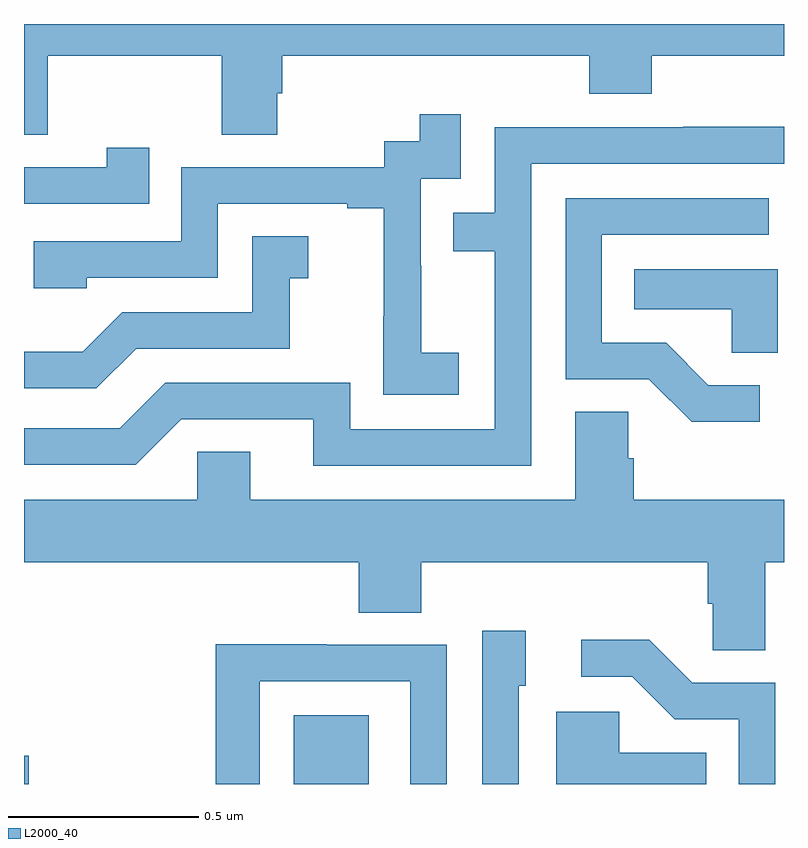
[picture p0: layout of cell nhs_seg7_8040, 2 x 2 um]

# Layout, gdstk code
import gdstk
lib = gdstk.Library(unit=1e-6, precision=1e-09)
def R(c, l, rs):  # rectangles x0, y0, x1, y1
    for r in rs: c.add(gdstk.rectangle(r[:2], r[2:], *l))
def P(c, l, *ps):  # polygons
    for p in ps: c.add(gdstk.Polygon(p, *l))
L2000_40 = (2000, 40)

nhs_seg7_8040 = lib.new_cell('nhs_seg7_8040')
R(nhs_seg7_8040, L2000_40, [(219,1032,219.013,1032.074), (219.71,1032,219.907,1032.181)])
P(nhs_seg7_8040, L2000_40, [(219.063,1033.916),(219.52,1033.916),(219.52,1033.708),(219.667,1033.708),(219.667,1033.818),(219.68,1033.818),(219.68,1033.916),(220.487,1033.916),(220.487,1033.817),(220.652,1033.817),(220.652,1033.916),(221,1033.916),(221,1034),(219,1034),(219,1033.708),(219.063,1033.708)],
  [(220.144,1033.135),(220.046,1033.135),(220.046,1033.364),(220.044,1033.364),(220.044,1033.593),(220.149,1033.593),(220.149,1033.762),(220.041,1033.762),(220.041,1033.692),(219.948,1033.692),(219.948,1033.623),(219.414,1033.623),(219.414,1033.428),(219.025,1033.428),(219.025,1033.305),(219.165,1033.305),(219.165,1033.332),(219.51,1033.332),(219.51,1033.527),(219.851,1033.527),(219.851,1033.515),(219.947,1033.515),(219.947,1033.231),(219.946,1033.231),(219.946,1033.025),(220.144,1033.025)],
  [(220.335,1033.632),(221,1033.632),(221,1033.73),(220.735,1033.73),(220.735,1033.728),(220.239,1033.728),(220.239,1033.503),(220.129,1033.503),(220.129,1033.402),(220.239,1033.402),(220.239,1032.933),(219.858,1032.933),(219.858,1033.056),(219.372,1033.056),(219.252,1032.936),(219,1032.936),(219,1032.84),(219.294,1032.84),(219.414,1032.96),(219.761,1032.96),(219.761,1032.837),(220.335,1032.837)],
  [(219.329,1033.675),(219.218,1033.675),(219.218,1033.623),(219,1033.623),(219,1033.527),(219.329,1033.527)],
  [(220.936,1033.05),(220.801,1033.05),(220.69,1033.161),(220.521,1033.161),(220.521,1033.446),(220.96,1033.446),(220.96,1033.542),(220.425,1033.542),(220.425,1033.065),(220.644,1033.065),(220.757,1032.953),(220.936,1032.953)],
  [(219.295,1033.146),(219.699,1033.146),(219.699,1033.331),(219.748,1033.331),(219.748,1033.441),(219.6,1033.441),(219.6,1033.242),(219.258,1033.242),(219.154,1033.138),(219,1033.138),(219,1033.041),(219.19,1033.041)],
  [(220.984,1033.354),(220.606,1033.354),(220.606,1033.25),(220.863,1033.25),(220.863,1033.135),(220.984,1033.135)],
  [(220.951,1032.584),(221,1032.584),(221,1032.748),(220.604,1032.748),(220.604,1032.857),(220.59,1032.857),(220.59,1032.98),(220.451,1032.98),(220.451,1032.748),(219.595,1032.748),(219.595,1032.875),(219.456,1032.875),(219.456,1032.748),(219,1032.748),(219,1032.584),(219.881,1032.584),(219.881,1032.451),(220.046,1032.451),(220.046,1032.584),(220.799,1032.584),(220.799,1032.475),(220.812,1032.475),(220.812,1032.352),(220.951,1032.352)],
  [(220.302,1032.258),(220.321,1032.258),(220.321,1032.403),(220.206,1032.403),(220.206,1032),(220.302,1032)],
  [(220.977,1032.267),(220.758,1032.267),(220.645,1032.38),(220.467,1032.38),(220.467,1032.282),(220.601,1032.282),(220.712,1032.171),(220.881,1032.171),(220.881,1032),(220.977,1032)],
  [(219.621,1032.27),(220.017,1032.27),(220.017,1032),(220.113,1032),(220.113,1032.366),(219.797,1032.366),(219.797,1032.368),(219.505,1032.368),(219.505,1032),(219.621,1032)],
  [(220.796,1032.082),(220.566,1032.082),(220.566,1032.19),(220.4,1032.19),(220.4,1032),(220.796,1032)])

lib.write_gds('nhs_seg7_8040.gds')
